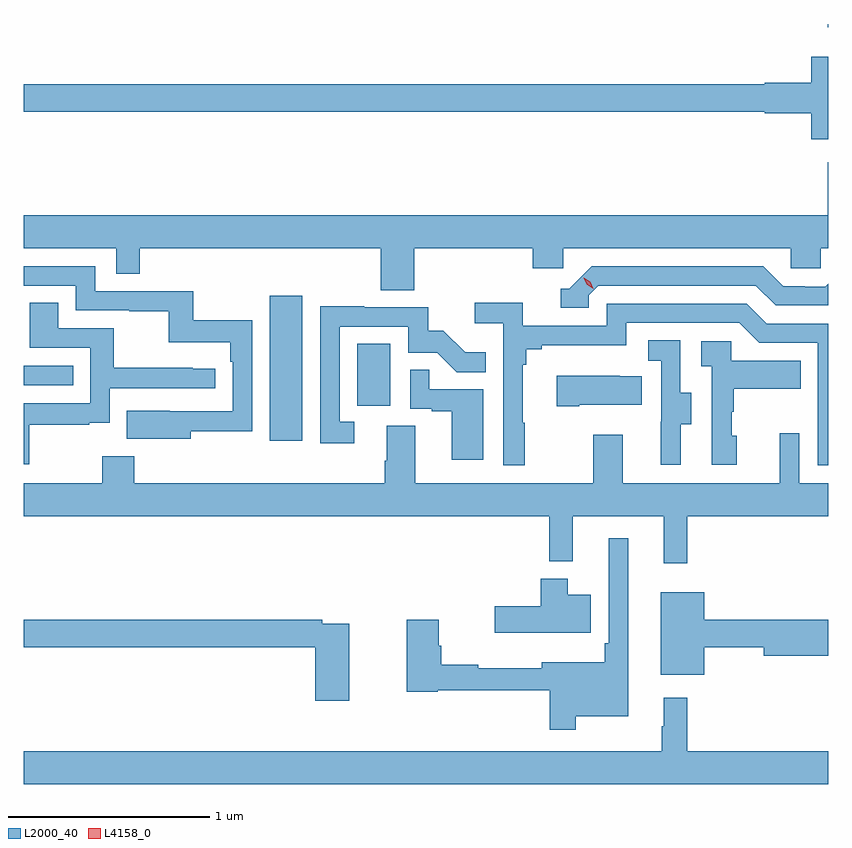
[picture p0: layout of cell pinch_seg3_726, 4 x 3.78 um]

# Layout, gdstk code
import gdstk
lib = gdstk.Library(unit=1e-6, precision=1e-09)
def R(c, l, rs):  # rectangles x0, y0, x1, y1
    for r in rs: c.add(gdstk.rectangle(r[:2], r[2:], *l))
def P(c, l, *ps):  # polygons
    for p in ps: c.add(gdstk.Polygon(p, *l))
L2000_40 = (2000, 40)
L4158_0 = (4158, 0)

pinch_seg3_726 = lib.new_cell('pinch_seg3_726')
R(pinch_seg3_726, L2000_40, [(880.613,734.592,880.774,735.313), (881.048,734.766,881.212,735.073), (879.389,734.868,879.635,734.964), (883.387,736.647,883.389,736.664)])
P(pinch_seg3_726, L2000_40, [(883.389,736.501),(883.304,736.501),(883.304,736.372),(883.074,736.372),(883.074,736.364),(879.389,736.364),(879.389,736.228),(883.074,736.228),(883.074,736.22),(883.304,736.22),(883.304,736.091),(883.389,736.091)],
  [(879.389,735.548),(879.849,735.548),(879.849,735.421),(879.965,735.421),(879.965,735.548),(881.165,735.548),(881.165,735.34),(881.33,735.34),(881.33,735.548),(881.921,735.548),(881.921,735.45),(882.072,735.45),(882.072,735.548),(883.203,735.548),(883.203,735.45),(883.353,735.45),(883.353,735.548),(883.389,735.548),(883.389,735.976),(883.387,735.976),(883.387,735.712),(879.389,735.712)],
  [(880.219,734.638),(880.524,734.638),(880.524,735.19),(880.231,735.19),(880.231,735.336),(879.744,735.336),(879.744,735.459),(879.389,735.459),(879.389,735.363),(879.648,735.363),(879.648,735.24),(879.913,735.24),(879.913,735.235),(880.11,735.235),(880.11,735.08),(880.415,735.08),(880.415,734.984),(880.428,734.984),(880.428,734.739),(880.115,734.739),(880.115,734.74),(879.901,734.74),(879.901,734.6),(880.219,734.6)],
  [(882.198,735.315),(882.246,735.363),(883.029,735.363),(883.128,735.264),(883.389,735.264),(883.389,735.371),(883.375,735.357),(883.272,735.357),(883.272,735.36),(883.165,735.36),(883.066,735.459),(882.213,735.459),(882.102,735.348),(882.059,735.348),(882.059,735.252),(882.198,735.252)],
  [(879.415,734.67),(879.713,734.67),(879.713,734.681),(879.816,734.681),(879.816,734.853),(880.342,734.853),(880.342,734.949),(880.229,734.949),(880.229,734.954),(879.836,734.954),(879.836,735.15),(879.559,735.15),(879.559,735.278),(879.419,735.278),(879.419,735.054),(879.72,735.054),(879.72,734.778),(879.389,734.778),(879.389,734.475),(879.415,734.475)],
  [(881.881,734.681),(881.869,734.681),(881.869,734.969),(881.888,734.969),(881.888,735.046),(881.965,735.046),(881.965,735.065),(882.384,735.065),(882.384,735.177),(882.948,735.177),(883.047,735.078),(883.338,735.078),(883.338,734.469),(883.389,734.469),(883.389,735.174),(883.084,735.174),(882.985,735.273),(882.288,735.273),(882.288,735.162),(881.87,735.162),(881.87,735.278),(881.631,735.278),(881.631,735.176),(881.772,735.176),(881.772,734.469),(881.881,734.469)],
  [(881.032,734.685),(880.959,734.685),(880.959,735.159),(881.301,735.159),(881.301,735.03),(881.445,735.03),(881.543,734.932),(881.687,734.932),(881.687,735.031),(881.583,735.031),(881.476,735.138),(881.4,735.138),(881.4,735.255),(881.081,735.255),(881.081,735.26),(880.863,735.26),(880.863,734.58),(881.032,734.58)],
  [(882.655,734.674),(882.709,734.674),(882.709,734.829),(882.654,734.829),(882.654,735.092),(882.495,735.092),(882.495,734.989),(882.558,734.989),(882.558,734.685),(882.557,734.685),(882.557,734.472),(882.655,734.472)],
  [(882.934,734.616),(882.909,734.616),(882.909,734.735),(882.919,734.735),(882.919,734.849),(883.253,734.849),(883.253,734.989),(882.906,734.989),(882.906,735.087),(882.759,735.087),(882.759,734.963),(882.81,734.963),(882.81,734.472),(882.934,734.472)],
  [(881.674,734.847),(881.405,734.847),(881.405,734.945),(881.31,734.945),(881.31,734.751),(881.417,734.751),(881.417,734.739),(881.516,734.739),(881.516,734.496),(881.674,734.496)],
  [(882.151,734.771),(882.461,734.771),(882.461,734.911),(882.353,734.911),(882.353,734.914),(882.039,734.914),(882.039,734.764),(882.151,734.764)],
  [(882.689,734.216),(883.389,734.216),(883.389,734.38),(883.245,734.38),(883.245,734.629),(883.148,734.629),(883.148,734.38),(882.367,734.38),(882.367,734.62),(882.22,734.62),(882.22,734.38),(881.335,734.38),(881.335,734.666),(881.195,734.666),(881.195,734.492),(881.183,734.492),(881.183,734.38),(879.938,734.38),(879.938,734.515),(879.778,734.515),(879.778,734.38),(879.389,734.38),(879.389,734.216),(882.001,734.216),(882.001,733.991),(882.119,733.991),(882.119,734.216),(882.572,734.216),(882.572,733.983),(882.689,733.983)],
  [(882.133,733.22),(882.394,733.22),(882.394,734.107),(882.297,734.107),(882.297,733.585),(882.277,733.585),(882.277,733.489),(881.964,733.489),(881.964,733.459),(881.648,733.459),(881.648,733.478),(881.465,733.478),(881.465,733.572),(881.452,733.572),(881.452,733.702),(881.294,733.702),(881.294,733.342),(881.448,733.342),(881.448,733.35),(882.004,733.35),(882.004,733.155),(882.133,733.155)],
  [(882.208,733.825),(882.094,733.825),(882.094,733.906),(881.96,733.906),(881.96,733.767),(881.73,733.767),(881.73,733.637),(882.208,733.637)],
  [(882.772,733.564),(883.07,733.564),(883.07,733.522),(883.389,733.522),(883.389,733.7),(882.772,733.7),(882.772,733.837),(882.557,733.837),(882.557,733.427),(882.772,733.427)],
  [(881.008,733.68),(880.874,733.68),(880.874,733.7),(879.389,733.7),(879.389,733.564),(880.838,733.564),(880.838,733.299),(881.008,733.299)],
  [(883.389,733.048),(882.689,733.048),(882.689,733.312),(882.572,733.312),(882.572,733.172),(882.561,733.172),(882.561,733.048),(879.389,733.048),(879.389,732.884),(883.389,732.884)])
P(pinch_seg3_726, L4158_0, [(882.221,735.348),(882.19,735.368),(882.174,735.4),(882.174,735.401),(882.174,735.401),(882.205,735.381),(882.221,735.348),(882.221,735.348)])

lib.write_gds('pinch_seg3_726.gds')
